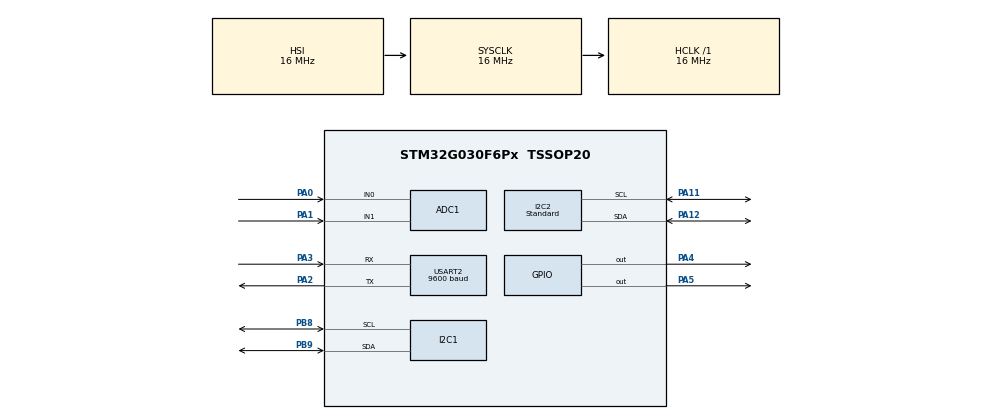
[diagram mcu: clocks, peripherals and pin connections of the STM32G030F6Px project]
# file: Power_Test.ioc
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ADC1.Channel-0\#ChannelRegularConversion=ADC_CHANNEL_0
ADC1.Channel-1\#ChannelRegularConversion=ADC_CHANNEL_1
ADC1.LowPowerAutoWait=ENABLE
ADC1.NbrOfConversion=2
ADC1.NbrOfConversionFlag=1
ADC1.Rank-0\#ChannelRegularConversion=1
ADC1.Rank-1\#ChannelRegularConversion=2
ADC1.SamplingTime-0\#ChannelRegularConversion=ADC_SAMPLINGTIME_COMMON_1
ADC1.SamplingTime-1\#ChannelRegularConversion=ADC_SAMPLINGTIME_COMMON_1
ADC1.SamplingTimeCommon1=ADC_SAMPLETIME_79CYCLES_5
ADC1.SamplingTimeCommon2=ADC_SAMPLETIME_79CYCLES_5
ADC1.SelectedChannel=ADC_CHANNEL_0|ADC_CHANNEL_1
ADC1.master=1
Dma.ADC1.0.Direction=DMA_PERIPH_TO_MEMORY
Dma.ADC1.0.EventEnable=DISABLE
Dma.ADC1.0.Instance=DMA1_Channel3
Dma.ADC1.0.MemDataAlignment=DMA_MDATAALIGN_HALFWORD
Dma.ADC1.0.MemInc=DMA_MINC_ENABLE
Dma.ADC1.0.Mode=DMA_NORMAL
Dma.ADC1.0.PeriphDataAlignment=DMA_PDATAALIGN_HALFWORD
Dma.ADC1.0.PeriphInc=DMA_PINC_DISABLE
Dma.ADC1.0.Polarity=HAL_DMAMUX_REQ_GEN_RISING
Dma.ADC1.0.Priority=DMA_PRIORITY_LOW
Dma.ADC1.0.RequestNumber=1
Dma.ADC1.0.SignalID=NONE
Dma.ADC1.0.SyncEnable=DISABLE
Dma.ADC1.0.SyncPolarity=HAL_DMAMUX_SYNC_NO_EVENT
Dma.ADC1.0.SyncRequestNumber=1
Dma.ADC1.0.SyncSignalID=NONE
Dma.Request0=ADC1
I2C1.Timing=0x00503D58
I2C2.I2C_Speed_Mode=I2C_Standard
I2C2.Timing=0x00503D58
Mcu.Family=STM32G0
Mcu.Name=STM32G030F6Px
Mcu.Package=TSSOP20
NVIC.ADC1_IRQn=true\:0\:0\:false\:false\:true\:true\:true\:true
NVIC.DMA1_Channel2_3_IRQn=true\:0\:0\:false\:false\:true\:false\:true\:true
NVIC.I2C1_IRQn=true\:0\:0\:false\:false\:true\:true\:true\:true
NVIC.USART2_IRQn=true\:0\:0\:false\:false\:true\:true\:true\:true
PA0.Mode=IN0
PA0.Signal=ADC1_IN0
PA1.Mode=IN1
PA1.Signal=ADC1_IN1
PA11\ [PA9].Mode=I2C
PA11\ [PA9].Signal=I2C2_SCL
PA12\ [PA10].Mode=I2C
PA12\ [PA10].Signal=I2C2_SDA
PA13.Mode=Serial_Wire
PA13.Signal=SYS_SWDIO
PA14-BOOT0.Mode=Serial_Wire
PA14-BOOT0.Signal=SYS_SWCLK
PA14-BOOT0__PA15.StandardMode=true
PA2.Mode=Asynchronous
PA2.Signal=USART2_TX
PA3.Mode=Asynchronous
PA3.Signal=USART2_RX
PA4.GPIO_PuPd=GPIO_PULLUP
PA4.PinState=GPIO_PIN_SET
PA4.Signal=GPIO_Output
PA5.PinState=GPIO_PIN_SET
PA5.Signal=GPIO_Output
PB0__PB1__PB2__PA8.StandardMode=true
PB3__PB4__PB5__PB6.StandardMode=true
PB7__PB8.StandardMode=true
PB8.Mode=I2C
PB8.Signal=I2C1_SCL
PB9.Mode=I2C
PB9.Signal=I2C1_SDA
PC14-OSC32_IN\ (PC14)__PB9.StandardMode=true
ProjectManager.HeapSize=0x200
ProjectManager.StackSize=0x400
ProjectManager.TargetToolchain=CMake
RCC.ADCFreq_Value=16000000
RCC.AHBFreq_Value=16000000
RCC.CortexFreq_Value=16000000
RCC.EXTERNAL_CLOCK_VALUE=12288000
RCC.HCLKFreq_Value=16000000
RCC.HSE_VALUE=8000000
RCC.HSI_VALUE=16000000
RCC.LSE_VALUE=32768
RCC.SYSCLKFreq_VALUE=16000000
RCC.VCOOutputFreq_Value=128000000
USART2.BaudRate=9600
USART2.VirtualMode-Asynchronous=VM_ASYNC
board=custom

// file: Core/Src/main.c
/* USER CODE BEGIN Header */
/**
  ******************************************************************************
  * @file           : main.c
  * @brief          : Main program body
  ******************************************************************************
  * @attention
  *
  * Copyright (c) 2026 STMicroelectronics.
  * All rights reserved.
  *
  * This software is licensed under terms that can be found in the LICENSE file
  * in the root directory of this software component.
  * If no LICENSE file comes with this software, it is provided AS-IS.
  *
  ******************************************************************************
  */
/* USER CODE END Header */
#include "main.h"
#include "adc.h"
#include "dma.h"
#include "i2c.h"
#include "usart.h"
#include "gpio.h"

/* USER CODE BEGIN Includes */
#include <stdbool.h>
#include <stddef.h>

/* USER CODE END Includes */

/* USER CODE BEGIN PTD */
//STM32 HAL 的接口参数需要左移一位。
/* 测量分工（依据 PCB 原理图 ProPrj_自制功率计_2026-11-12）：
 *   电流：U9 = INA226AIDGSR，挂 I2C1（PB8=SCL / PB9=SDA，4.7k 上拉），只读分流电压寄存器 0x01
 *         分流电阻 R2 = 2mΩ，跨接在 OUT 与 POWER- 之间；VIN+ / VBUS 接 OUT
 *   电压：STM32 片内 ADC1 的 PA0(IN0)，测 OUT 母线，R14=15kΩ 串入 / R17=1kΩ 下拉到地
 * 板上 U9 的 A1、A0 都接 GND → 7 位地址应为 0x40；不同贴装可能是 0x40~0x4F，
 * 因此 INA226_Init 会在这个范围里按厂商 ID 自动认出实际地址。
 * INA226 地址 = 0x40 + 4*(A1档位) + (A0档位)，档位可选 GND / VS+ / SDA / SCL。 */
#define INA226_ADDR7       0x40U
#define INA226_ADDR_RT     ((uint16_t)(meter_ina_addr7 << 1)) // 传给 HAL 的 8 位地址

#define INA226_REG_CONFIG       0x00U  // 配置寄存器：设置转换模式、转换时间和平均次数
#define INA226_REG_SHUNT        0x01U  // 分流电压寄存器：有符号数，每位代表 2.5μV
#define INA226_REG_BUS          0x02U  // 总线电压寄存器：本工程不再使用，电压改由 ADC1 采样
#define INA226_REG_MANUFACTURER 0xFEU  // 厂商 ID 寄存器：TI 的标识值为 0x5449

/* 只测电流：AVG=64 次平均、分流电压每次 1.1ms、只开分流通道连续转换（MODE=101）
   = 0x0725，一组约 70.4ms（远快于 500ms 上报周期）。
   原来用 AVG=4 / 140μs（0x0205）是最快的设置，零载噪声达 ±3 LSB（±4.4mA），
   现在平均次数×16、转换时间×8，噪声约降到 ±1 LSB（±1.5mA）。 */
#define INA226_Measure          0x0725

/* 采样电阻等效阻值，单位 Ω。
   标定（2026-11-12）：负载实测 0.500A 时固件原读 0.4130A，且空载零点约 -10 LSB，
   反推 INA226 实际看到的等效阻值 = (330.4+10) × 2.5µV / 0.5A ≈ 1.70mΩ（丝印 R2 是 2mΩ）。
   二次微调：0.5A 点 -0.23%、2.2A 点 -0.19%，按平均比例 0.9979 再收一点到 1.696mΩ。 */
#define SHUNT_RESISTANCE_OHM    0.001696f

/* 电压采样：ADC1 的 PA0(IN0)，R14=15kΩ 串入、R17=1kΩ 下拉到地，理论分压比 16
   引脚电压 ×16 即被测电压；3.3V 参考下满量程约 52.8V
   历史版本（改下面 K/B 或切回分压比公式即可）：
     版本 1          分压比 16.0        —— 纯理论值
     版本 2          分压比 15.945     —— 按显示 24.026 / 表测 23.944 单点微调
     版本 3（当前）  K = 0.012793，B = 0            ← K/B 第 1 版（等效分压比 15.875）
     版本 4          K = 0.013207，B = -0.46646    （用户多点拟合）
     版本 5          K = 0.013072，B = -0.0562     （28V 日志三点拟合） */
#define ADC_VREF_VOLT           3.3f
#define ADC_FULL_SCALE          4095.0f
#define VOLTAGE_DIVIDER_RATIO   16.0f   /* 仅作理论参考，当前换算走下面的 K/B */

/* 电压线性校准：V = K × ADC原始值 + B（等同参考工程里的 y = kx + b）
   运行期可通过串口/蓝牙改写：发 "K0.013050\n" 设 K，"B0\n" 设 B，"?" 查询当前值
   只存 RAM，掉电回到下面的默认值

   标定记录（2026-11-13，空载，负载仪电压 27.027V ↔ App 显示 26.494V → ADC≈2071）：
     K = 27.027 / 2071 = 0.013050
   说明：之前用"24V/23.659V ↔ ADC 1849"算出的 K=0.012793 与本次相差约 2%，
   两组参考电压不可能同时成立（ADC 本身线性度远好于 2%），本次以空载负载仪读数为准。 */
#define ADC_VOLT_K_DEFAULT      0.013050f
#define ADC_VOLT_B_DEFAULT      0.0f

/* 线路压降的分段线性补偿：ΔV = K × I + B，按电流绝对值分成 4 段。
   由 2026-11-13 五点实测（0/1/2/3/4A，App 与负载仪差值）逐段拟合得到，
   段与段在 1A / 2A / 3A 处首尾相接，不会跳变：
     0~1A : Δ = 0.044×I + 0.018
     1~2A : Δ = 0.061×I + 0.001
     2~3A : Δ = 0.038×I + 0.047
     3~4A : Δ = 0.041×I + 0.038
   显示电压 = 测量电压 − ΔV。 */
static const float LINE_SEG_K[4] = { 0.044f, 0.061f, 0.038f, 0.041f };
static const float LINE_SEG_B[4] = { 0.018f, 0.001f, 0.047f, 0.038f };

/* 额外的全局线性补偿（默认 0），串口/蓝牙发 "L<值>" 可再叠加一个 I×R 修正 */
#define LINE_RESISTANCE_DEFAULT 0.0f

/* 大电流段的固定偏差（按幅值扣掉）：
     3.0 ~ 3.4A：读数偏高约 4mA
     3.4A 以上 ：读数偏高约 7mA */
#define CURRENT_MID_FROM_A      3.0f
#define CURRENT_MID_OFFSET_A    0.004f
#define CURRENT_HIGH_FROM_A     3.4f
#define CURRENT_HIGH_OFFSET_A   0.007f

/* 电压平均：主循环每 ADC_SAMPLE_PERIOD_MS 采一次 PA0，环形缓存 ADC_AVG_WINDOW 个点，
   上报时取窗口平均。48 点 × 10ms ≈ 480ms，正好覆盖一个上报周期，
   开关电源纹波和随机噪声按 √48 ≈ 7 倍衰减。 */
#define ADC_SAMPLE_PERIOD_MS    10U
#define ADC_AVG_WINDOW          48U

typedef struct
{
  float voltage_V;  //电压
  float current_A;  //电流
  float power_W;   //功率
} MeterData;

/* USER CODE END PTD */

/* USER CODE BEGIN PD */
/* 发送槽位：0=测量帧，1=0x03 通信自检回帧，2=0x05 地址扫描回帧 */
#define METER_TX_SLOTS      3U
#define METER_TX_MEASURE    0U
#define METER_TX_DIAG       1U
#define METER_TX_SCAN       2U
#define METER_TX_TEXT_SIZE  96U

/* 帧格式：1 = 可读三行（CH2 V 24.123V / CH2 I 1.23456A / CH2 P 29.808W）
           0 = 紧凑单行（C2,24.123,1.23456,29.808）
   ADC 原始值不再每帧发送，需要时串口发 'v' 单独取一帧；
   每行都控制在 20 字节以内，正好一条 BLE 通知发完，不会再被拆包截断。 */
#define METER_FRAME_STYLE   1U

/* 上报周期（毫秒）。四行一帧（V/I/P/R），200ms 就是 20 条 BLE 通知/秒。
   带宽算一下：一行约 18 字节，9600bps 发 72 字节 ≈ 75ms，200ms 周期还有 2 倍余量；
   INA226 一组 64 次平均是 70.4ms，也来得及出一组新值。
   如果手机端出现丢帧，把它调到 250~300；想更快就把模块波特率提到 115200 再改小。 */
#define REPORT_PERIOD_MS    200U

/* 发送方式：1 = USART2 TX DMA（原方式）；0 = 阻塞发送
   排查“有 INIT 却没有数据帧”时用 0，用来判断问题是否出在 DMA 发送链上 */
#define METER_TX_USE_DMA    0U

/* 分流电压零点偏移（单位 LSB，1 LSB = 2.5µV）：上电默认 0。
   空载时读到的 -10 LSB 左右就是 INA226 的失调，收到 0x06 / 文本 'z' 时
   在空载下连采 64 次求平均写进来修正；只存 RAM，掉电需要重标。 */
/* 空载零点校准的采样组数：每组间隔 80ms（对应 INA226 的 64 次平均周期） */
#define SHUNT_ZERO_SAMPLES      8U

/* 默认零点偏移（LSB）：2026-11-12 空载实测 -0.0120A ≈ -10 LSB，直接作为上电初值；
   串口发 'z' 可用当场实测值覆盖（只存 RAM） */
#define SHUNT_OFFSET_LSB_DEFAULT  (-10)

/* INA226 厂商 ID（寄存器 0xFE），用于识别芯片是否真的挂在总线上 */
#define INA226_MANUFACTURER_ID 0x5449U
/* USER CODE END PD */

/* USER CODE BEGIN PV */

static uint8_t bluetooth_rx_byte;

/* 调试时观察这两个变量 */
volatile uint8_t bluetooth_last_byte;
volatile uint32_t bluetooth_rx_count;

static volatile bool bluetooth_rx_rearm;      // 中断里重挂接收失败时置位，由主循环重试
static volatile uint8_t bluetooth_echo_byte;  // 收到的指令，由主循环回显

MeterData meter_data;  // 电流来自 INA226（U9，I2C1），电压来自 ADC1（PA0），功率由两者相乘

/* INA226 当前使用的 7 位地址：上电按原理图取 0x40，初始化时若对不上会自动扫描并记住 */
static uint8_t meter_ina_addr7 = INA226_ADDR7;

/* 电压校准系数（运行期可改）：V = K × ADC原始值 + B */
static float meter_k = ADC_VOLT_K_DEFAULT;
static float meter_b = ADC_VOLT_B_DEFAULT;

/* 线路等效电阻（运行期可改）：显示电压 = 测量电压 − I × R_line */
static float meter_line_ohm = LINE_RESISTANCE_DEFAULT;

/* 串口行命令缓冲：收 "K0.013207" / "B-0.46646" / "?" 这类多字节命令 */
static char meter_cmd_line[24];
static uint8_t meter_cmd_len;

/* 需要回一帧 "CFG K=… B=…"（中断置标志，主循环发送） */
static volatile bool meter_cfg_request;

/* 分流电压零点偏移，校准后由 Meter_ReadCurrent 从原始值里减掉；上电用出厂实测值 */
static int16_t shunt_offset_lsb = SHUNT_OFFSET_LSB_DEFAULT;

/* 串口收到 0x06 / 'z' 后置位，由主循环做一次空载零点校准 */
static volatile bool meter_zero_request;

/* 串口收到 0x07 / 'r' 后置位，由主循环回一帧分流寄存器原始值，用于对表排查 */
static volatile bool meter_raw_request;

/* 串口收到 0x08 / 'v' 后置位，由主循环回一帧电压 ADC 原始值，用于逐点标定 */
static volatile bool meter_vraw_request;

/* 电压滑动平均窗口：环形缓存 PA0 的原始 ADC 值 */
static uint16_t adc_ring[ADC_AVG_WINDOW];
static uint8_t  adc_ring_index;
static uint8_t  adc_ring_count;
static uint32_t adc_ring_sum;
static uint32_t adc_sample_tick;

/* 电压 ADC 原始值的窗口平均值：每次采样入窗后更新，发送和换算都直接读这个变量，
   调试时在 watch 里看它即可，等于串口打出来的 CH2 R */
uint16_t adc_raw_avg;

bool meter_ready;   //INA226 是否初始化成功
bool adc_ready;     //ADC1 自校准是否成功
bool meter_valid;   //本次电压、电流是否都读取成功、可以使用
static char meter_tx_text[METER_TX_SLOTS][METER_TX_TEXT_SIZE];  // 独立缓冲区，发送完成前不能覆盖
static uint16_t meter_tx_length[METER_TX_SLOTS];  // 每槽实际发送字节数，不包含字符串结束符
static volatile bool meter_tx_pending[METER_TX_SLOTS];  // true：待发或正在发送，禁止覆盖
static volatile uint8_t meter_tx_active;  // 0：空闲，1..METER_TX_SLOTS：正在发送的槽位+1
static volatile uint32_t meter_tx_start_tick;  // 本次 DMA 发送开始的时刻，用于超时判断
static volatile bool meter_diag_request;  // 串口收到 0x03 后置位，由主循环生成自检回帧
static volatile bool meter_scan_request;  // 串口收到 0x05 后置位，由主循环扫描 I²C 地址
volatile uint32_t meter_uart_error_count;  // 调试时观察串口和 DMA 错误次数

/* USER CODE END PV */

void SystemClock_Config(void);

/* USER CODE BEGIN 0 */
bool INA226_ReadReg(I2C_HandleTypeDef *bus,uint8_t reg,uint16_t *value);
//向芯片写
bool INA226_WriteReg(I2C_HandleTypeDef *bus,uint8_t reg,uint16_t value);
/*
检查地址有没有应答。
检查制造商 ID 是否符合 INA226。
配置芯片开始连续测量。
*/
bool INA226_Init(I2C_HandleTypeDef *bus);
/**
 * @brief  读取 INA226 的分流电压，算出电流写入 result->current_A
 * @param  bus     该 INA226 所连接的 I²C 句柄
 * @param  result  保存测量结果的地址，必须指向有效的 MeterData 变量
 * @return true：读取成功；false：读取失败，result 原有内容不变
 */
bool Meter_ReadCurrent(I2C_HandleTypeDef *bus, MeterData *result);
/* 把一次 PA0 采样推进滑动窗口，并取窗口平均值（原始 ADC 值） */
static void Meter_AdcPush(uint16_t raw);
//串口蓝牙发送
void Meter_Send(const MeterData *data,bool valid);
static void Meter_TxStart(void);
static void Meter_TxPublish(uint8_t index,char *end);
static bool Meter_DiagSend(void);
static bool Meter_ScanSend(void);
static char *Meter_WriteText(char *text,const char *value);
static char *Meter_WriteInt(char *text,int32_t value);
static char *Meter_WriteHex(char *text,uint16_t value,uint8_t digits);
static char *Meter_WriteFixed(char *text,float value,uint8_t decimals);
static bool INA226_ProbeAddr(I2C_HandleTypeDef *bus,uint8_t addr7);
static bool Meter_ZeroCalibrate(void);
static bool Meter_ReadAdc(uint16_t *raw0,uint16_t *raw1);
static float Meter_AdcVoltage(uint16_t raw);
static void Meter_Trace(char step);

/* USER CODE END 0 */

int main(void)
{

  /* MCU Configuration--------------------------------------------------------*/

  /* Reset of all peripherals, Initializes the Flash interface and the Systick. */
  HAL_Init();

  /* Configure the system clock */
  SystemClock_Config();

  /* Initialize all configured peripherals */
  MX_GPIO_Init();
  MX_DMA_Init();
  MX_I2C1_Init();
  MX_I2C2_Init();
  MX_USART2_UART_Init();
  MX_ADC1_Init();
  /* USER CODE BEGIN 2 */
  /* 开机横幅：一上电就能确认“固件在跑 + 串口通 + 烧的是哪一版”，
     内容带编译日期时间，换版本立刻能看出来。阻塞约 28ms(9600，27 字节)，只在启动时执行一次。 */
  static const char boot_msg[] = "BOOT " __DATE__ " " __TIME__ "\r\n";
  HAL_UART_Transmit(&huart2,(uint8_t *)boot_msg,(uint16_t)(sizeof(boot_msg)-1U),100);

  //开启串口中断接收
  if (HAL_UART_Receive_IT(&huart2, &bluetooth_rx_byte, 1) != HAL_OK)
  {
    Error_Handler();
  }
  /* ADC1 自校准：G0 上电必须做一次，否则零点有偏移；必须在 ADC 未启动时执行 */
  adc_ready = (HAL_ADCEx_Calibration_Start(&hadc1) == HAL_OK);

  //初始化 INA226：U9，连接 I2C1（只用来测电流）
  meter_ready = INA226_Init(&hi2c1);

  /* 初始化结果：1=成功，0=失败（INA226 无应答 / ID 不符；ADC 校准失败） */
  {
    char init_msg[] = "INIT CH2=0 ADC=0\r\n";
    init_msg[9]  = meter_ready ? '1' : '0';
    init_msg[15] = adc_ready ? '1' : '0';
    HAL_UART_Transmit(&huart2,(uint8_t *)init_msg,(uint16_t)(sizeof(init_msg)-1U),100);
  }

  /* USER CODE END 2 */

  /* Infinite loop */
  /* USER CODE BEGIN WHILE */
  /* 诊断用：进主循环立刻打一次、1 秒后再打一次发送链状态，
     用来区分“主循环根本没跑起来”和“跑起来了但发送链卡住” */
  uint32_t state_tick = HAL_GetTick();
  uint32_t report_tick = HAL_GetTick();
  uint8_t state_stage = 0U;
  uint32_t loop_count = 0U;
  bool trace_done = false;

  while (1)
  {
    /* 指令回显：确认上位机的 0x01/0x02/0x03/0x05 到底有没有到达 MCU */
    if (bluetooth_echo_byte != 0U)
    {
      uint8_t echo = bluetooth_echo_byte;
      char echo_msg[12];
      char *p = echo_msg;

      bluetooth_echo_byte = 0U;

      p = Meter_WriteText(p,"RX ");
      p = Meter_WriteHex(p,(uint16_t)echo,2U);
      *p++ = '\r';
      *p++ = '\n';

      HAL_UART_Transmit(&huart2,(uint8_t *)echo_msg,(uint16_t)(p-echo_msg),50U);
    }

    /* 补挂接收：中断里因 HAL 返回 BUSY 没挂上时，由主循环补挂 */
    if (bluetooth_rx_rearm && huart2.RxState == HAL_UART_STATE_READY)
    {
      if (HAL_UART_Receive_IT(&huart2, &bluetooth_rx_byte, 1) == HAL_OK)
      {
        bluetooth_rx_rearm = false;
      }
    }

    /* 发送超时保护：一行 20 字节在 9600 下约 21ms，超过 50ms 还没完成
       说明 DMA 传输完成中断没来（或启动失败留下 pending），强制复位发送链，
       否则 pending 会一直挂着，采集和发送都停住。 */
    if (meter_tx_active!=0U && (uint32_t)(HAL_GetTick()-meter_tx_start_tick) > 50U)
    {
      HAL_UART_AbortTransmit(&huart2);
      meter_tx_pending[meter_tx_active-1U] = false;
      meter_tx_active = 0;
      meter_uart_error_count++;
    }

    /* 状态回显：STATE1 立即打（证明主循环和阻塞发送活着），STATE2 在第 2000 次循环打
       （用循环次数触发，不依赖 SysTick；同时打出 tick 用来判断 SysTick 是否在走）
       act=正在发送的槽+1，uart=huart2.gState（32=READY，33=BUSY_TX），
       dma=TX DMA 状态（0=READY，1=BUSY），pend=各槽待发位，err=错误计数 */
    loop_count++;

    bool want_state = (state_stage == 0U)
                   || (state_stage == 1U && loop_count >= 2000U);

    if (want_state)
    {
      state_stage++;

      char state_msg[96];
      char *p = state_msg;

      p = Meter_WriteText(p,"STATE");
      *p++ = (char)('0'+state_stage);
      p = Meter_WriteText(p," act=");
      p = Meter_WriteInt(p,(int32_t)meter_tx_active);
      p = Meter_WriteText(p," uart=");
      p = Meter_WriteInt(p,(int32_t)huart2.gState);
      p = Meter_WriteText(p," dma=");
      p = Meter_WriteInt(p,(int32_t)huart2.hdmatx->State);
      p = Meter_WriteText(p," pend=");
      p = Meter_WriteInt(p,(int32_t)((meter_tx_pending[METER_TX_MEASURE]?1:0)
                                    |(meter_tx_pending[METER_TX_DIAG]?2:0)
                                    |(meter_tx_pending[METER_TX_SCAN]?4:0)));
      p = Meter_WriteText(p," err=");
      p = Meter_WriteInt(p,(int32_t)meter_uart_error_count);
      p = Meter_WriteText(p," tick=");
      p = Meter_WriteInt(p,(int32_t)((uint32_t)(HAL_GetTick()-state_tick)));
      p = Meter_WriteText(p," loop=");
      p = Meter_WriteInt(p,(int32_t)loop_count);
      *p++ = '\r';
      *p++ = '\n';

      HAL_UART_Transmit(&huart2,(uint8_t *)state_msg,(uint16_t)(p-state_msg),100);
    }

    /* 收到 0x03：先回一帧 I²C / 串口自检结果，再继续采集 */
    if (meter_diag_request && Meter_DiagSend())
    {
      meter_diag_request = false;
    }

    /* 收到 0x05：扫描 I2C1 上的 0x40~0x4F，回一帧地址表 */
    if (meter_scan_request && Meter_ScanSend())
    {
      meter_scan_request = false;
    }

    /* 收到 0x06 / 'z'：空载零点校准，回一帧 CAL 结果 */
    if (meter_zero_request)
    {
      meter_zero_request = false;

      char cal_msg[32];
      char *p = cal_msg;

      if (Meter_ZeroCalibrate())
      {
        p = Meter_WriteText(p,"CAL OFF=");
        p = Meter_WriteInt(p,(int32_t)shunt_offset_lsb);
        p = Meter_WriteText(p,"LSB\r\n");
      }
      else
      {
        p = Meter_WriteText(p,"CAL FAIL\r\n");
      }

      HAL_UART_Transmit(&huart2,(uint8_t *)cal_msg,(uint16_t)(p-cal_msg),50U);
    }

    /* 收到 0x07 / 'r'：回一帧分流寄存器原始值，方便和万用表对表
       格式 RAW S=<原始LSB> O=<偏移LSB> N=<修正后LSB>，U = N × 2.5µV */
    if (meter_raw_request)
    {
      meter_raw_request = false;

      uint16_t raw_shunt;

      if (INA226_ReadReg(&hi2c1, INA226_REG_SHUNT, &raw_shunt))
      {
        char raw_msg[48];
        char *p = raw_msg;

        int32_t raw_lsb = (int32_t)(int16_t)raw_shunt;
        int32_t net_lsb = raw_lsb - (int32_t)shunt_offset_lsb;

        p = Meter_WriteText(p,"RAW S=");
        p = Meter_WriteInt(p,raw_lsb);
        p = Meter_WriteText(p," O=");
        p = Meter_WriteInt(p,(int32_t)shunt_offset_lsb);
        p = Meter_WriteText(p," N=");
        p = Meter_WriteInt(p,net_lsb);
        p = Meter_WriteText(p,"\r\n");

        HAL_UART_Transmit(&huart2,(uint8_t *)raw_msg,(uint16_t)(p-raw_msg),50U);
      }
      else
      {
        static const char raw_err[] = "RAW FAIL\r\n";
        HAL_UART_Transmit(&huart2,(uint8_t *)raw_err,(uint16_t)(sizeof(raw_err)-1U),50U);
      }
    }

    Meter_TxStart();

    /* 收到 0x08 / 'v'：回一帧电压 ADC 原始值（480ms 窗口平均），用于逐点标定
       格式 VRAW R=<原始值> V=<当前换算电压> */
    if (meter_vraw_request)
    {
      meter_vraw_request = false;

      uint16_t raw = adc_raw_avg;

      if (adc_ready && (adc_ring_count>0U))
      {
        char vmsg[48];
        char *p = vmsg;

        p = Meter_WriteText(p,"VRAW R=");
        p = Meter_WriteInt(p,(int32_t)raw);
        p = Meter_WriteText(p," V=");
        p = Meter_WriteFixed(p,Meter_AdcVoltage(raw),3U);
        p = Meter_WriteText(p,"V\r\n");

        HAL_UART_Transmit(&huart2,(uint8_t *)vmsg,(uint16_t)(p-vmsg),50U);
      }
      else
      {
        static const char v_err[] = "VRAW FAIL\r\n";
        HAL_UART_Transmit(&huart2,(uint8_t *)v_err,(uint16_t)(sizeof(v_err)-1U),50U);
      }
    }

    /* 回一帧当前参数：CFG K=0.013050 B=0.000000 L=0.050000
       手机端连上后发 "?" 就能读到（App 目前只解析 K/B，L 在后面不影响解析） */
    if (meter_cfg_request)
    {
      meter_cfg_request = false;

      char cfg_msg[64];
      char *p = cfg_msg;

      p = Meter_WriteText(p,"CFG K=");
      p = Meter_WriteFixed(p,meter_k,6U);
      p = Meter_WriteText(p," B=");
      p = Meter_WriteFixed(p,meter_b,6U);
      p = Meter_WriteText(p," L=");
      p = Meter_WriteFixed(p,meter_line_ohm,6U);
      p = Meter_WriteText(p,"\r\n");

      HAL_UART_Transmit(&huart2,(uint8_t *)cfg_msg,(uint16_t)(p-cfg_msg),50U);
    }

    /* 电压连续采样：每 10ms 采一次 PA0（rank1），攒满一个窗口再平均，
       这样 500ms 内的纹波和随机噪声都被压掉，不再依赖单次采样 */
    if ((uint32_t)(HAL_GetTick()-adc_sample_tick) >= ADC_SAMPLE_PERIOD_MS)
    {
      adc_sample_tick = HAL_GetTick();

      uint16_t raw_pa0;
      uint16_t raw_pa1;

      if (Meter_ReadAdc(&raw_pa0,&raw_pa1))
      {
        Meter_AdcPush(raw_pa0);
      }
    }

    /* 测量帧发完、且过了上报周期才开始下一轮采集 */
    if (!meter_tx_pending[METER_TX_MEASURE] && meter_tx_active==0U && huart2.gState==HAL_UART_STATE_READY
        && (uint32_t)(HAL_GetTick()-report_tick) >= REPORT_PERIOD_MS)
    {
      report_tick = HAL_GetTick();
      /* 第一轮逐段打点：定位到底卡在哪一步（只在第 1 轮输出） */
      if (!trace_done)
      {
        Meter_Trace('1');   /* 进了采集分支，gState 是 READY */
      }

      /* 初始化失败时，定期重试 */
      if (!meter_ready)
      {
        meter_ready = INA226_Init(&hi2c1);
      }

      /* 电流：读 INA226 的分流电压寄存器（U9，I2C1） */
      bool current_ok = meter_ready && Meter_ReadCurrent(&hi2c1, &meter_data);

      /* 大电流段偏差修正（按幅值扣掉，反向电流同样处理）：
         3.0~3.4A 扣 4mA，3.4A 以上扣 7mA */
      if (current_ok)
      {
        float abs_i = (meter_data.current_A < 0.0f) ? -meter_data.current_A : meter_data.current_A;
        float offset = 0.0f;

        if (abs_i >= CURRENT_HIGH_FROM_A)
        {
          offset = CURRENT_HIGH_OFFSET_A;
        }
        else if (abs_i >= CURRENT_MID_FROM_A)
        {
          offset = CURRENT_MID_OFFSET_A;
        }

        if (offset > 0.0f)
        {
          if (meter_data.current_A > 0.0f)
          {
            meter_data.current_A -= offset;
          }
          else
          {
            meter_data.current_A += offset;
          }
        }
      }

      if (!trace_done)
      {
        Meter_Trace('2');   /* 电流读完了，没卡在 I²C 总线上 */
      }

      /* 读取失败，下一轮重新初始化 */
      if (!current_ok)
      {
        meter_ready = false;
      }

      /* 电压：ADC1 的 PA0，经 R14=15k / R17=1k 分压（×16），取最近 480ms 的窗口平均 */
      float voltage_V = 0.0f;
      bool voltage_ok = false;

      if (adc_ready && (adc_ring_count>0U))
      {
        voltage_V = Meter_AdcVoltage(adc_raw_avg);
        voltage_ok = true;
      }

      /* 电压、电流都成功才算本次数据有效，功率 = U × I */
      if (current_ok && voltage_ok)
      {
        /* 线路压降补偿：ADC 采的是 OUT 节点，负载端还低一段电压，
           按电流所在区间取 ΔV = K × I + B，再加一个可选的全局 I × L。 */
        float current_A = meter_data.current_A;
        float abs_current = (current_A < 0.0f) ? -current_A : current_A;
        uint8_t seg = (abs_current < 1.0f) ? 0U :
                      ((abs_current < 2.0f) ? 1U :
                       ((abs_current < 3.0f) ? 2U : 3U));

        float drop = (LINE_SEG_K[seg] * abs_current) + LINE_SEG_B[seg]
                     + (meter_line_ohm * abs_current);

        /* 反向电流时压降方向相反 */
        if (current_A < 0.0f)
        {
          drop = -drop;
        }

        voltage_V -= drop;

        if (voltage_V < 0.0f)
        {
          voltage_V = 0.0f;
        }

        meter_data.voltage_V = voltage_V;
        meter_data.power_W = voltage_V * current_A;
      }

      meter_valid = current_ok && voltage_ok;

      /* 输出测量值或错误状态 */
      Meter_Send(&meter_data, meter_valid);

      if (!trace_done)
      {
        Meter_Trace('3');   /* 帧已提交发送，本轮结束 */
        trace_done = true;
      }
    }

    /* USER CODE END WHILE */

  }
}

void SystemClock_Config(void)
{
  RCC_OscInitTypeDef RCC_OscInitStruct = {0};
  RCC_ClkInitTypeDef RCC_ClkInitStruct = {0};

  /** Configure the main internal regulator output voltage
  */
  HAL_PWREx_ControlVoltageScaling(PWR_REGULATOR_VOLTAGE_SCALE1);

  /** Initializes the RCC Oscillators according to the specified parameters
  * in the RCC_OscInitTypeDef structure.
  */
  RCC_OscInitStruct.OscillatorType = RCC_OSCILLATORTYPE_HSI;
  RCC_OscInitStruct.HSIState = RCC_HSI_ON;
  RCC_OscInitStruct.HSIDiv = RCC_HSI_DIV1;
  RCC_OscInitStruct.HSICalibrationValue = RCC_HSICALIBRATION_DEFAULT;
  RCC_OscInitStruct.PLL.PLLState = RCC_PLL_NONE;
  if (HAL_RCC_OscConfig(&RCC_OscInitStruct) != HAL_OK)
  {
    Error_Handler();
  }

  /** Initializes the CPU, AHB and APB buses clocks
  */
  RCC_ClkInitStruct.ClockType = RCC_CLOCKTYPE_HCLK|RCC_CLOCKTYPE_SYSCLK
                              |RCC_CLOCKTYPE_PCLK1;
  RCC_ClkInitStruct.SYSCLKSource = RCC_SYSCLKSOURCE_HSI;
  RCC_ClkInitStruct.AHBCLKDivider = RCC_SYSCLK_DIV1;
  RCC_ClkInitStruct.APB1CLKDivider = RCC_HCLK_DIV1;

  if (HAL_RCC_ClockConfig(&RCC_ClkInitStruct, FLASH_LATENCY_0) != HAL_OK)
  {
    Error_Handler();
  }
}

/* USER CODE BEGIN 4 */

/* 解析十进制浮点数（支持符号和一个小数点，不处理指数）；成功返回 true */
static bool Meter_ParseFloat(const char *text,float *value)
{
  bool negative = false;
  bool any_digit = false;
  bool has_dot = false;
  float result = 0.0f;
  float fraction = 0.1f;

  while (*text==' ')
  {
    text++;
  }

  if (*text=='-')
  {
    negative = true;
    text++;
  }
  else if (*text=='+')
  {
    text++;
  }

  while (*text!='\0')
  {
    char c = *text;

    if ((c>='0') && (c<='9'))
    {
      any_digit = true;

      if (!has_dot)
      {
        result = (result*10.0f) + (float)(c-'0');
      }
      else
      {
        result += (float)(c-'0')*fraction;
        fraction *= 0.1f;
      }
    }
    else if ((c=='.') && (!has_dot))
    {
      has_dot = true;
    }
    else
    {
      break;
    }

    text++;
  }

  if (!any_digit)
  {
    return false;
  }

  *value = negative ? -result : result;

  return true;
}

/* 处理一行命令："K<值>" 设增益，"B<值>" 设截距，"L<值>" 设线路电阻，"?" 查询 */
static void Meter_HandleCommandLine(char *line)
{
  float value;

  while (*line==' ')
  {
    line++;
  }

  if ((line[0]=='K') || (line[0]=='k'))
  {
    if (Meter_ParseFloat(line+1,&value))
    {
      meter_k = value;
      meter_cfg_request = true;
    }
  }
  else if ((line[0]=='L') || (line[0]=='l'))
  {
    if (Meter_ParseFloat(line+1,&value) && (value >= 0.0f) && (value < 10.0f))
    {
      meter_line_ohm = value;
      meter_cfg_request = true;
    }
  }
  else if ((line[0]=='B') || (line[0]=='b'))
  {
    if (Meter_ParseFloat(line+1,&value))
    {
      meter_b = value;
      meter_cfg_request = true;
    }
  }
  else if (line[0]=='?')
  {
    meter_cfg_request = true;
  }
}

void HAL_UART_RxCpltCallback(UART_HandleTypeDef *huart)
{
  if (huart->Instance == USART2)
  {
    uint8_t data = bluetooth_rx_byte;
    bool echo = true;

    /* 行命令优先：K…/B…/? 先攒进缓冲区，收到 CR/LF 再处理；
       其它单字节命令（1/0/3/5/z/r/v）仍立即执行 */
    if ((data=='\r') || (data=='\n'))
    {
      if (meter_cmd_len>0U)
      {
        meter_cmd_line[meter_cmd_len] = '\0';
        Meter_HandleCommandLine(meter_cmd_line);
        meter_cmd_len = 0U;
      }

      echo = false;
    }
    else if ((meter_cmd_len>0U) || (data=='K') || (data=='k')
             || (data=='B') || (data=='b') || (data=='?'))
    {
      if (meter_cmd_len < (uint8_t)(sizeof(meter_cmd_line)-1U))
      {
        meter_cmd_line[meter_cmd_len++] = (char)data;
      }

      echo = false;
    }
    else
    {
    /* 兼容文本模式：App 没开 HEX 时发的是字符 '1'/'0'/'3'/'5'，
       统一折算成控制字节，免得“指令发了却没反应” */
    uint8_t cmd = data;

    if      (data=='0') { cmd = 0x02U; }   /* 文本 '0' → 关 */
    else if (data=='1') { cmd = 0x01U; }   /* 文本 '1' → 开 */
    else if (data=='3') { cmd = 0x03U; }   /* 文本 '3' → 自检 */
    else if (data=='5') { cmd = 0x05U; }   /* 文本 '5' → 扫描 */
    else if ((data=='z') || (data=='Z')) { cmd = 0x06U; }  /* 文本 'z' → 空载零点校准 */
    else if ((data=='r') || (data=='R')) { cmd = 0x07U; }  /* 文本 'r' → 回原始寄存器值 */
    else if ((data=='v') || (data=='V')) { cmd = 0x08U; }  /* 文本 'v' → 回电压 ADC 原始值 */

    if (cmd==0x01U)
    {
      HAL_GPIO_WritePin(GPIOA, GPIO_PIN_4, GPIO_PIN_SET);   //开
      HAL_GPIO_WritePin(GPIOA, GPIO_PIN_5, GPIO_PIN_SET);
    }
    else if (cmd==0x02U)
    {
      HAL_GPIO_WritePin(GPIOA, GPIO_PIN_4, GPIO_PIN_RESET);  //关
      HAL_GPIO_WritePin(GPIOA, GPIO_PIN_5, GPIO_PIN_RESET);
    }
    else if (cmd==0x03U)
    {
      /* 通信自检：只置请求标志，I²C 探测放到主循环，中断里不能阻塞 */
      meter_diag_request = true;
    }
    else if (cmd==0x05U)
    {
      /* 地址扫描：同样只在主循环里执行 */
      meter_scan_request = true;
    }
    else if (cmd==0x06U)
    {
      /* 空载零点校准：采样也在主循环里做 */
      meter_zero_request = true;
    }
    else if (cmd==0x07U)
    {
      /* 回原始值：同样只置标志 */
      meter_raw_request = true;
    }
    else if (cmd==0x08U)
    {
      /* 回电压原始值：同样只置标志 */
      meter_vraw_request = true;
    }
    }

    /* 重新启动，准备接收下一个字节。
       这里绝不能再调用 Error_Handler()：它 __disable_irq()+while(1)，
       一旦 HAL 返回 HAL_BUSY（比如主循环的阻塞发送正占着串口），
       整机就静默死掉，表现为"发 0x01/0x02 没反应、数据也停了"。 */
    if (HAL_UART_Receive_IT(&huart2, &bluetooth_rx_byte, 1) != HAL_OK)
    {
      bluetooth_rx_rearm = true;
      meter_uart_error_count++;
    }

    /* 回显收到的指令，主循环负责打印；行命令的每个字节不回显，避免刷屏 */
    if (echo)
    {
      bluetooth_echo_byte = data;
    }

    bluetooth_last_byte = data;
    bluetooth_rx_count++;

    /* 在这里添加简单的字节处理，不能使用 HAL_Delay() */
  }
}

void HAL_UART_TxCpltCallback(UART_HandleTypeDef *huart)
{
  if (huart->Instance == USART2)
  {
    /* USART 最后一个字节发完后，才释放对应缓冲区 */
    if (meter_tx_active!=0U)
    {
      meter_tx_pending[meter_tx_active-1U] = false;
      meter_tx_active = 0;
    }

    /* 上一条发完，立即接着发送另一条待发数据 */
    Meter_TxStart();
  }
}

void HAL_UART_ErrorCallback(UART_HandleTypeDef *huart)
{
  if (huart->Instance == USART2)
  {
    meter_uart_error_count++;

    /* DMA 出错时保留待发内容，交给主循环重试 */
    if ((huart->ErrorCode & HAL_UART_ERROR_DMA)!=0U && huart->gState==HAL_UART_STATE_READY)
    {
      meter_tx_active = 0;
    }

    /* 接收溢出等错误结束接收后，重新接收控制命令 */
    if (huart->RxState==HAL_UART_STATE_READY)
    {
      if (HAL_UART_Receive_IT(&huart2, &bluetooth_rx_byte, 1) != HAL_OK)
      {
        meter_uart_error_count++;
      }
    }
  }
}

static void Meter_TxStart(void)
{
  /* 选一个待发槽位并在临界区里登记；真正的发送放到临界区外，
     否则阻塞发送期间中断被关着，会丢接收到的指令字节 */
  uint8_t slot = 0xFFU;

  uint32_t primask = __get_PRIMASK();
  __disable_irq();

  if (meter_tx_active==0U && huart2.gState==HAL_UART_STATE_READY)
  {
    for (uint8_t i=0; i<METER_TX_SLOTS; i++)
    {
      if (meter_tx_pending[i])
      {
        slot = i;
        meter_tx_active = i+1U;
        meter_tx_start_tick = HAL_GetTick();
        break;
      }
    }
  }

  /* 恢复进入函数前的中断状态 */
  __set_PRIMASK(primask);

  if (slot==0xFFU)
  {
    return;
  }

#if (METER_TX_USE_DMA != 0U)
  if (HAL_UART_Transmit_DMA(&huart2,(uint8_t *)meter_tx_text[slot],meter_tx_length[slot]) != HAL_OK)
  {
    /* 启动失败时不清除 pending，下一次继续重试 */
    meter_tx_active = 0;
    meter_uart_error_count++;
  }
#else
  /* 阻塞发送，并且按行拆开发：每行都以 \n 结尾、长度控制在 20 字节以内，
     保证一条 BLE 通知就能装下一行，不会再出现跨包截断 */
  {
    char *text = meter_tx_text[slot];
    uint16_t total = meter_tx_length[slot];
    uint16_t start = 0U;
    bool ok = true;

    for (uint16_t i=0U; i<total; i++)
    {
      if (text[i]=='\n')
      {
        uint16_t n = (uint16_t)(i+1U-start);

        if (HAL_UART_Transmit(&huart2,(uint8_t *)&text[start],n,50U) != HAL_OK)
        {
          ok = false;
        }

        start = (uint16_t)(i+1U);
      }
    }

    /* 末尾没有换行的残余部分也发出去 */
    if (start<total)
    {
      if (HAL_UART_Transmit(&huart2,(uint8_t *)&text[start],(uint16_t)(total-start),50U) != HAL_OK)
      {
        ok = false;
      }
    }

    if (ok)
    {
      meter_tx_pending[slot] = false;
    }
    else
    {
      meter_uart_error_count++;
    }
  }

  meter_tx_active = 0;
#endif
}

/* 结束一个槽位的文本后发布待发标记；长度越界则丢弃，不发送半截内容 */
static void Meter_TxPublish(uint8_t index,char *end)
{
  char *text = meter_tx_text[index];
  int length;

  *end = '\0';
  length = (int)(end-text);

  if (length > 0 && length < (int)sizeof(meter_tx_text[index]))
  {
    meter_tx_length[index] = (uint16_t)length;
    /* 内容和长度写好后再发布待发标记，供中断回调接续发送 */
    __DMB();
    meter_tx_pending[index] = true;
    Meter_TxStart();
  }
}

//INA226 都要求高字节在前。 先传高8位，再传低8位
//向芯片读
bool INA226_ReadReg(I2C_HandleTypeDef *bus,uint8_t reg,uint16_t *value)
{
  uint8_t data[2];
  HAL_StatusTypeDef status = HAL_I2C_Mem_Read(bus,INA226_ADDR_RT,reg,I2C_MEMADD_SIZE_8BIT,data,sizeof(data),100);

  if (status != HAL_OK) {
    return false;
  }
  *value = ((uint16_t)data[0] << 8) | data[1];
  return true;
}

//向芯片写
bool INA226_WriteReg(I2C_HandleTypeDef *bus,uint8_t reg,uint16_t value)
{
  uint8_t data[2];
  data[0] = (uint8_t)(value >> 8);
  data[1] = (uint8_t)value;
  HAL_StatusTypeDef status = HAL_I2C_Mem_Write(bus,INA226_ADDR_RT,reg,I2C_MEMADD_SIZE_8BIT,data,sizeof(data),30);
  return status == HAL_OK;
}

/* 试探某个 7 位地址上是不是 INA226：有应答且厂商 ID 正确
   超时给得很短（3ms/10ms），扫 16 个地址最坏约 50ms */
static bool INA226_ProbeAddr(I2C_HandleTypeDef *bus,uint8_t addr7)
{
  uint8_t data[2];
  uint16_t address = (uint16_t)(addr7<<1);

  if (HAL_I2C_IsDeviceReady(bus,address,1,3) != HAL_OK)
  {
    return false;
  }

  if (HAL_I2C_Mem_Read(bus,address,INA226_REG_MANUFACTURER,I2C_MEMADD_SIZE_8BIT,data,sizeof(data),10) != HAL_OK)
  {
    return false;
  }

  return ((((uint16_t)data[0]<<8)|data[1]) == INA226_MANUFACTURER_ID);
}

/*
先按上次的地址确认应答与制造商 ID。
地址对不上时在 0x40~0x4F 里扫一遍，认到就记住（兼容 A0/A1 不同接法）。
最后配置芯片开始连续测量。
*/
bool INA226_Init(I2C_HandleTypeDef *bus)
{
  if (!INA226_ProbeAddr(bus,meter_ina_addr7))
  {
    bool found = false;

    for (uint8_t addr7=INA226_ADDR7; addr7<=(INA226_ADDR7+0x0FU); addr7++)
    {
      if (addr7!=meter_ina_addr7 && INA226_ProbeAddr(bus,addr7))
      {
        meter_ina_addr7 = addr7;
        found = true;
        break;
      }
    }

    if (!found)
    {
      return false;
    }
  }

  /* 当前 INA226_Measure=0x0725：64 次平均、每次 1.1ms，一组约 70.4ms */
  if (!INA226_WriteReg(bus, INA226_REG_CONFIG, INA226_Measure))
  {
    return false;
  }

  /* 等第一组平均结果产生（70.4ms），取 80ms 留足余量；仅初始化和重试时执行 */
  HAL_Delay(80);

  return true;
}

/**
 * @brief  读取 INA226 的分流电压，算出电流写入 result->current_A
 * @param  bus     该 INA226 所连接的 I²C 句柄
 * @param  result  保存测量结果的地址，必须指向有效的 MeterData 变量
 * @return true：读取成功；false：读取失败，result 原有内容不变
 */
bool Meter_ReadCurrent(I2C_HandleTypeDef *bus, MeterData *result)
{
  uint16_t raw_shunt; // 分流电压寄存器的原始位模式，计算时按有符号数解释

  // 读取采样电阻两端的压差；通信失败则退出
  if (!INA226_ReadReg(bus, INA226_REG_SHUNT, &raw_shunt))
  {
    return false;
  }

  // 减掉空载零点偏移（±10µV 量级的失调，折算到 2mΩ 上是 ±5mA）
  int32_t raw_signed = (int32_t)(int16_t)raw_shunt - (int32_t)shunt_offset_lsb;

  /* 饱和到 int16 范围，防止减法溢出 */
  if (raw_signed > 32767)
  {
    raw_signed = 32767;
  }
  else if (raw_signed < -32768)
  {
    raw_signed = -32768;
  }

  // 分流电压每位代表 2.5μV，算出采样电阻两端的压差
  float shunt_voltage_V = (float)raw_signed * 0.0000025f;

  // 根据 I = U / R 计算电流，单位 A
  result->current_A = shunt_voltage_V / SHUNT_RESISTANCE_OHM;

  return true;
}

/* 空载零点校准：间隔取 SHUNT_ZERO_SAMPLES 组分流电压求平均，作为偏移量。
   INA226 现在每 70.4ms 才更新一次平均值，所以每组之间要等 80ms，
   否则连读会拿到同一个结果，平均等于没平均。总共约 0.7s。
   返回 false：一次都没读到（I²C 不通） */
static bool Meter_ZeroCalibrate(void)
{
  uint16_t raw;
  int32_t sum = 0;
  uint8_t ok = 0U;

  for (uint8_t i=0U; i<SHUNT_ZERO_SAMPLES; i++)
  {
    if (INA226_ReadReg(&hi2c1, INA226_REG_SHUNT, &raw))
    {
      sum += (int16_t)raw;
      ok++;
    }

    HAL_Delay(80);
  }

  if (ok==0U)
  {
    return false;
  }

  /* 四舍五入到最近的整数 LSB（负数向远离 0 的方向进位） */
  int32_t average = (sum>=0) ? ((sum+(int32_t)ok/2)/(int32_t)ok)
                             : ((sum-(int32_t)ok/2)/(int32_t)ok);

  shunt_offset_lsb = (int16_t)average;

  return true;
}

/* 读 ADC1 的两个规则通道各一次：rank1 = PA0(IN0)，rank2 = PA1(IN1)
   返回 false：启动失败或转换超时 */
static bool Meter_ReadAdc(uint16_t *raw0,uint16_t *raw1)
{
  if (HAL_ADC_Start(&hadc1) != HAL_OK)
  {
    return false;
  }

  for (uint8_t i=0U; i<2U; i++)
  {
    if (HAL_ADC_PollForConversion(&hadc1,10U) != HAL_OK)
    {
      HAL_ADC_Stop(&hadc1);
      return false;
    }

    uint16_t value = (uint16_t)HAL_ADC_GetValue(&hadc1);

    if (i==0U)
    {
      *raw0 = value;
    }
    else
    {
      *raw1 = value;
    }
  }

  HAL_ADC_Stop(&hadc1);

  return true;
}

/* ADC 原始值 → 被测电压：线性校准 V = K × raw + B（K/B 运行期可改） */
static float Meter_AdcVoltage(uint16_t raw)
{
  return ((float)raw * meter_k) + meter_b;
}

/* 把一次 PA0 采样推进滑动窗口；窗口满后覆盖最老的点，并同步更新全局平均值 */
static void Meter_AdcPush(uint16_t raw)
{
  if (adc_ring_count<ADC_AVG_WINDOW)
  {
    adc_ring_count++;
  }
  else
  {
    adc_ring_sum -= adc_ring[adc_ring_index];
  }

  adc_ring[adc_ring_index] = raw;
  adc_ring_sum += raw;
  adc_ring_index = (uint8_t)((adc_ring_index+1U) % ADC_AVG_WINDOW);

  /* 四舍五入的平均值，存进全局变量 */
  adc_raw_avg = (uint16_t)((adc_ring_sum + (uint32_t)(adc_ring_count/2U)) / adc_ring_count);
}

/* 只拼接所需文本，避免完整 printf 格式化代码占满 32KB Flash */
static char *Meter_WriteText(char *text,const char *value)
{
  while (*value!='\0')
  {
    *text++ = *value++;
  }

  return text;
}

/* 将有符号整数写成十进制，支持负电流和负功率 */
static char *Meter_WriteInt(char *text,int32_t value)
{
  char digits[10];
  uint8_t count = 0;
  uint32_t magnitude = (uint32_t)value;

  if (value<0)
  {
    *text++ = '-';
    /* 用无符号减法取绝对值，INT32_MIN 也不会溢出 */
    magnitude = 0U-magnitude;
  }

  do
  {
    digits[count++] = (char)('0'+magnitude%10U);
    magnitude /= 10U;
  } while (magnitude!=0U);

  while (count>0U)
  {
    *text++ = digits[--count];
  }

  return text;
}

/* 写定点小数，例如 Meter_WriteFixed(p,1.23456f,5) -> "1.23456"，
   0.5f/5 -> "0.50000"，-0.00125f/5 -> "-0.00125"；decimals 取 0~5 */
static char *Meter_WriteFixed(char *text,float value,uint8_t decimals)
{
  static const int32_t pow10[6] = {1,10,100,1000,10000,100000};
  int32_t scale;
  float scaled_f;
  int32_t scaled;
  bool negative;

  if (decimals>5U)
  {
    decimals = 5U;
  }

  scale = pow10[decimals];

  scaled_f = value * (float)scale;
  negative = (scaled_f < 0.0f);

  if (negative)
  {
    scaled_f = -scaled_f;
  }

  /* 防止 float 溢出后转 int32 出未定义行为 */
  if (scaled_f > 2000000000.0f)
  {
    scaled_f = 2000000000.0f;
  }

  scaled = (int32_t)(scaled_f + 0.5f);

  if (negative && (scaled!=0))
  {
    *text++ = '-';
  }

  /* 整数部分 */
  text = Meter_WriteInt(text,scaled/scale);

  /* 小数部分：按位取，保证位数固定（含前导 0） */
  if (decimals>0U)
  {
    int32_t fraction = scaled % scale;

    *text++ = '.';

    for (int32_t div=scale/10; div>0; div/=10)
    {
      *text++ = (char)('0'+((fraction/div)%10));
    }
  }

  return text;
}

/* 写 digits 位大写十六进制（digits=4 打厂商 ID，2 打地址） */
static char *Meter_WriteHex(char *text,uint16_t value,uint8_t digits)
{
  static const char hex_digits[] = "0123456789ABCDEF";
  int8_t shift = (int8_t)((digits-1U)*4U);

  do
  {
    *text++ = hex_digits[(value>>shift) & 0x0FU];
    shift -= 4;
  } while (shift >= 0);

  return text;
}

/* 第一轮逐段跟踪：只打 "Tn t=<tick>"，用来定位采集流程卡在哪一步 */
static void Meter_Trace(char step)
{
  char msg[20];
  char *p = msg;

  *p++ = 'T';
  *p++ = step;
  *p++ = ' ';
  *p++ = 't';
  *p++ = '=';
  p = Meter_WriteInt(p,(int32_t)HAL_GetTick());
  *p++ = '\r';
  *p++ = '\n';

  HAL_UART_Transmit(&huart2,(uint8_t *)msg,(uint16_t)(p-msg),100);
}

/* 探测一路 INA226：只读不写，不会打断正在测量的通道
 * 返回 0：地址无应答；1：厂商 ID 正确；2：有应答但 ID 不符；3：应答后读寄存器失败 */
static uint8_t INA226_Probe(I2C_HandleTypeDef *bus,uint16_t *manufacturer)
{
  *manufacturer = 0U;

  if (HAL_I2C_IsDeviceReady(bus, INA226_ADDR_RT, 2, 30) != HAL_OK)
  {
    return 0U;
  }

  if (!INA226_ReadReg(bus, INA226_REG_MANUFACTURER, manufacturer))
  {
    return 3U;
  }

  return (*manufacturer == INA226_MANUFACTURER_ID) ? 1U : 2U;
}

/* 拼一路自检结果：CHn=OK(5449) / CHn=BAD(FFFF) / CHn=NACK / CHn=ERR */
static char *Meter_WriteDiagChannel(char *text,uint8_t channel,uint8_t state,uint16_t manufacturer)
{
  char *end = Meter_WriteText(text,"CH");

  *end++ = (char)('0'+channel);
  *end++ = '=';

  if (state==1U)
  {
    end = Meter_WriteText(end,"OK(");
    end = Meter_WriteHex(end,manufacturer,4U);
    *end++ = ')';
  }
  else if (state==0U)
  {
    end = Meter_WriteText(end,"NACK");
  }
  else if (state==2U)
  {
    end = Meter_WriteText(end,"BAD(");
    end = Meter_WriteHex(end,manufacturer,4U);
    *end++ = ')';
  }
  else
  {
    end = Meter_WriteText(end,"ERR");
  }

  return end;
}

/* 回应 0x03：回一帧 I²C 与串口自检结果，例如
 * DIAG CH2=OK(5449) ADDR=40 OFF=-10 RDY=1 ERR=0
 * 只探 INA226（U9，走 I2C1），ADDR 是当前在用的 7 位地址，OFF 是零点偏移（LSB）
 * 返回 false：上一帧自检结果还在发送，本次不处理，下一轮重试 */
static bool Meter_DiagSend(void)
{
  /* 自检帧仍在发送时不能改它的缓冲区 */
  if (meter_tx_pending[METER_TX_DIAG])
  {
    return false;
  }

  uint16_t manufacturer;

  uint8_t state = INA226_Probe(&hi2c1,&manufacturer);

  char *text = meter_tx_text[METER_TX_DIAG];
  char *end = Meter_WriteText(text,"DIAG ");

  end = Meter_WriteDiagChannel(end,2U,state,manufacturer);

  end = Meter_WriteText(end," ADDR=");
  end = Meter_WriteHex(end,(uint16_t)meter_ina_addr7,2U);

  end = Meter_WriteText(end," OFF=");
  end = Meter_WriteInt(end,(int32_t)shunt_offset_lsb);

  end = Meter_WriteText(end," RDY=");
  *end++ = meter_ready ? '1' : '0';

  end = Meter_WriteText(end," ERR=");
  end = Meter_WriteInt(end,(int32_t)meter_uart_error_count);
  end = Meter_WriteText(end,"\r\n");

  /* 最长 "DIAG CH2=BAD(FFFF) ADDR=4F RDY=1 ERR=4294967295\r\n" 约 49 字节 */
  Meter_TxPublish(METER_TX_DIAG,end);

  return true;
}

/* 扫描 0x40~0x4F：返回应答地址个数，前 4 个写进 out
 * 超时给 3ms、只试 1 次，16 个地址最坏约 48ms */
static uint8_t INA226_Scan(I2C_HandleTypeDef *bus,uint8_t *out)
{
  uint8_t found = 0;

  for (uint8_t addr = 0x40U; addr <= 0x4FU; addr++)
  {
    if (HAL_I2C_IsDeviceReady(bus,(uint16_t)((uint16_t)addr<<1),1,3) == HAL_OK)
    {
      if (found < 4U)
      {
        out[found] = addr;
      }

      found++;
    }
  }

  return found;
}

/* 拼一路扫描结果：label=40 / label=40,41 / label=NONE */
static char *Meter_WriteScan(char *text,const char *label,const uint8_t *addr,uint8_t count)
{
  char *end = Meter_WriteText(text,label);

  *end++ = '=';

  if (count==0U)
  {
    return Meter_WriteText(end,"NONE");
  }

  uint8_t shown = (count>4U) ? 4U : count;

  for (uint8_t i=0; i<shown; i++)
  {
    if (i>0U)
    {
      *end++ = ',';
    }

    end = Meter_WriteHex(end,addr[i],2U);
  }

  if (count>4U)
  {
    *end++ = '+';
  }

  return end;
}

/* 回应 0x05：扫描 I2C1 上的 INA226 地址（0x40~0x4F），例如
 * SCAN CH2/I2C1=44
 * CH2=U9 接 I2C1；NONE 表示该总线一个地址都没应答
 * 返回 false：上一帧扫描结果还在发送，本次不处理，下一轮重试 */
static bool Meter_ScanSend(void)
{
  if (meter_tx_pending[METER_TX_SCAN])
  {
    return false;
  }

  uint8_t addr[4];

  uint8_t count = INA226_Scan(&hi2c1,addr);

  char *text = meter_tx_text[METER_TX_SCAN];
  char *end = Meter_WriteText(text,"SCAN ");

  end = Meter_WriteScan(end,"CH2/I2C1",addr,count);
  end = Meter_WriteText(end,"\r\n");

  /* 最长 "SCAN CH2/I2C1=40,41,42,43+\r\n" 约 26 字节 */
  Meter_TxPublish(METER_TX_SCAN,end);

  return true;
}

//串口蓝牙发送（只有第二片 INA226，帧头固定为 CH2）
void Meter_Send(const MeterData *data,bool valid)
{
  if (data==NULL)
  {
    return;
  }

  uint8_t index = METER_TX_MEASURE;

  /* 上一条尚未发送完成，不能修改 DMA 仍在使用的内容 */
  if (meter_tx_pending[index])
  {
    return;
  }

  char *text = meter_tx_text[index];
  char *end = text;

  /* 四行最坏约 4×19=76 字节，96 字节缓冲区足够 */
  if (valid)
  {
#if (METER_FRAME_STYLE != 0U)
    /* 可读四行，各一行一条 BLE 通知；帧头固定 CH2（U9/I2C1）
       V 保留 3 位小数（1mV），I 保留 5 位小数（10µA），P 保留 3 位小数（1mW），
       最后一行是电压 ADC 原始值，手机端导出历史数据要用 */
    end = Meter_WriteText(end,"CH2 V ");
    end = Meter_WriteFixed(end,data->voltage_V,3U);
    end = Meter_WriteText(end,"V\r\n");

    end = Meter_WriteText(end,"CH2 I ");
    end = Meter_WriteFixed(end,data->current_A,5U);
    end = Meter_WriteText(end,"A\r\n");

    end = Meter_WriteText(end,"CH2 P ");
    end = Meter_WriteFixed(end,data->power_W,3U);
    end = Meter_WriteText(end,"W\r\n");

    end = Meter_WriteText(end,"CH2 R ");
    end = Meter_WriteInt(end,(int32_t)adc_raw_avg);
    end = Meter_WriteText(end,"\r\n");
#else
    /* 紧凑单行：C2,<V>,<A>,<W> */
    *end++ = 'C';
    *end++ = '2';
    *end++ = ',';
    end = Meter_WriteFixed(end,data->voltage_V,3U);
    *end++ = ',';
    end = Meter_WriteFixed(end,data->current_A,5U);
    *end++ = ',';
    end = Meter_WriteFixed(end,data->power_W,3U);
    end = Meter_WriteText(end,"\r\n");
#endif
  }
  else
  {
#if (METER_FRAME_STYLE != 0U)
    end = Meter_WriteText(end,"CH2 ERR\r\n");
#else
    *end++ = 'C';
    *end++ = '2';
    end = Meter_WriteText(end,",ERR\r\n");
#endif
  }

  Meter_TxPublish(index,end);
}

/* USER CODE END 4 */

void Error_Handler(void)
{
  __disable_irq();
  while (1)
  {
  }
}
